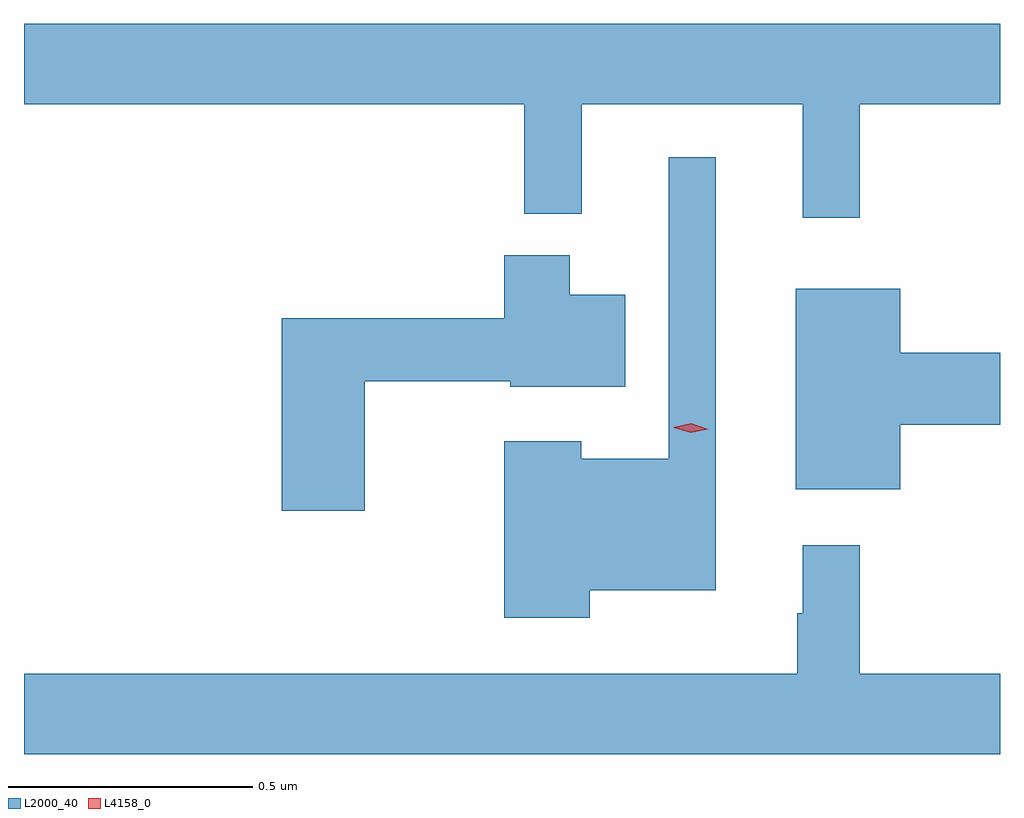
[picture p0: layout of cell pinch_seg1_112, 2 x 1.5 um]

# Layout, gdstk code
import gdstk
lib = gdstk.Library(unit=1e-6, precision=1e-09)
def P(c, l, *ps):  # polygons
    for p in ps: c.add(gdstk.Polygon(p, *l))
L2000_40 = (2000, 40)
L4158_0 = (4158, 0)

pinch_seg1_112 = lib.new_cell('pinch_seg1_112')
P(pinch_seg1_112, L2000_40, [(1051.631,558.392),(1051.918,558.392),(1051.918,558.556),(1049.918,558.556),(1049.918,558.392),(1050.943,558.392),(1050.943,558.167),(1051.061,558.167),(1051.061,558.392),(1051.514,558.392),(1051.514,558.159),(1051.631,558.159)],
  [(1051.077,557.396),(1051.336,557.396),(1051.336,558.283),(1051.239,558.283),(1051.239,557.665),(1051.06,557.665),(1051.06,557.701),(1050.902,557.701),(1050.902,557.339),(1051.077,557.339)],
  [(1050.616,557.824),(1050.914,557.824),(1050.914,557.813),(1051.15,557.813),(1051.15,558.001),(1051.036,558.001),(1051.036,558.082),(1050.902,558.082),(1050.902,557.953),(1050.446,557.953),(1050.446,557.559),(1050.616,557.559)],
  [(1051.714,557.735),(1051.918,557.735),(1051.918,557.882),(1051.714,557.882),(1051.714,558.013),(1051.499,558.013),(1051.499,557.603),(1051.714,557.603)],
  [(1051.918,557.224),(1051.631,557.224),(1051.631,557.488),(1051.514,557.488),(1051.514,557.348),(1051.503,557.348),(1051.503,557.224),(1049.918,557.224),(1049.918,557.06),(1051.918,557.06)])
P(pinch_seg1_112, L4158_0, [(1051.284,557.718),(1051.249,557.729),(1051.249,557.729),(1051.249,557.73),(1051.285,557.738),(1051.32,557.726),(1051.32,557.726),(1051.32,557.726)])

lib.write_gds('pinch_seg1_112.gds')
